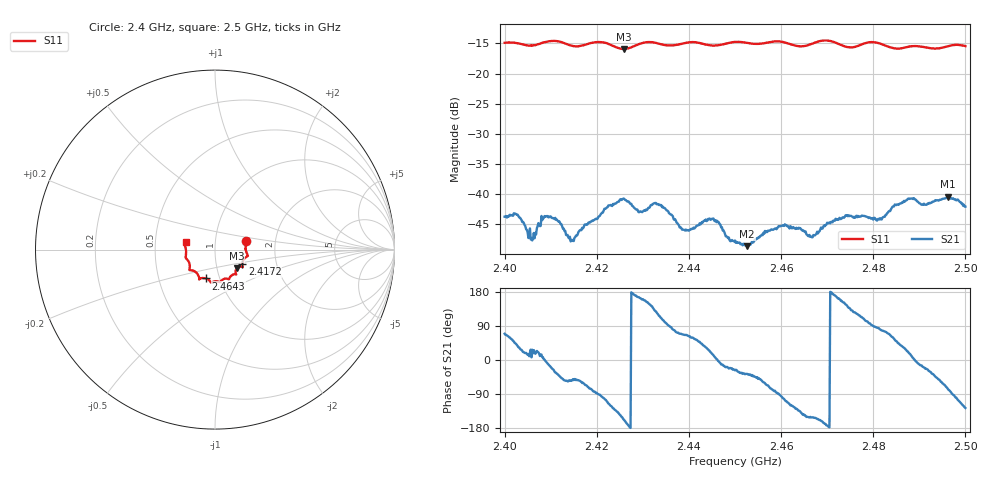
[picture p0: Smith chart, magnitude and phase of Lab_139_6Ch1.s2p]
# Hz S RI R 50
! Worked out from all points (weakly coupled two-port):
!   601 points, 2.4 GHz to 2.5 GHz, reference 50 ohm
!   highest |S21| = -40.39 dB at 2.4962 GHz (marker M1); lowest = -48.6 dB at 2.4527 GHz (marker M2)
!   lowest |S11| = -15.9 dB at 2.4258 GHz (marker M3), VSWR 1.38, Z = 62.3 - j13.3 ohm
!   |S11| at or under -10 dB: start of sweep to end of sweep
!   S12 and S22 are empty: the file has one direction only
!   S11 on the Smith chart (normalised r, x): 2.4 GHz: 1.41, +0.14; 2.4172 GHz: 1.34, -0.22; 2.4643 GHz: 0.86, -0.29; 2.5 GHz: 0.72, +0.06
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2.4e9  0.1734 0.0487  0.0023 0.0061  0 0  0 0
2.402833e9  0.175 0.0357  0.00545 0.00403  0 0  0 0
2.405667e9  0.1716 0.00602  0.00375 0.00194  0 0  0 0
2.409167e9  0.1816 -0.03  0.00655 -0.000809  0 0  0 0
2.4145e9  0.1629 -0.0507  0.00241 -0.00344  0 0  0 0
2.416667e9  0.153 -0.0744  0.00267 -0.00428  0 0  0 0
2.417167e9  0.1522 -0.08  0.00252 -0.00471  0 0  0 0
2.425833e9  0.1216 -0.104  -0.0085 -0.0036  0 0  0 0
2.4295e9  0.116 -0.1342  -0.0069 0.00212  0 0  0 0
2.433333e9  0.1129 -0.137  -0.00413 0.00718  0 0  0 0
2.438667e9  0.0809 -0.1582  0.00197 0.0047  0 0  0 0
2.444833e9  0.0568 -0.1614  0.00584 0.00202  0 0  0 0
2.45e9  0.0289 -0.1808  0.00368 -0.00191  0 0  0 0
2.452667e9  0.0193 -0.1784  0.00298 -0.00222  0 0  0 0
2.459833e9  -0.0239 -0.183  -0.000302 -0.00542  0 0  0 0
2.464333e9  -0.0498 -0.1608  -0.00387 -0.00335  0 0  0 0
2.466667e9  -0.076 -0.1593  -0.00387 -0.0021  0 0  0 0
2.474167e9  -0.0986 -0.1343  -0.00546 0.00378  0 0  0 0
2.483333e9  -0.1404 -0.0899  0.00256 0.00673  0 0  0 0
2.488e9  -0.1604 -0.0505  0.00884 0.00248  0 0  0 0
2.496167e9  -0.1672 0.0211  0.00233 -0.00927  0 0  0 0
2.5e9  -0.1636 0.0425  -0.00471 -0.00634  0 0  0 0
